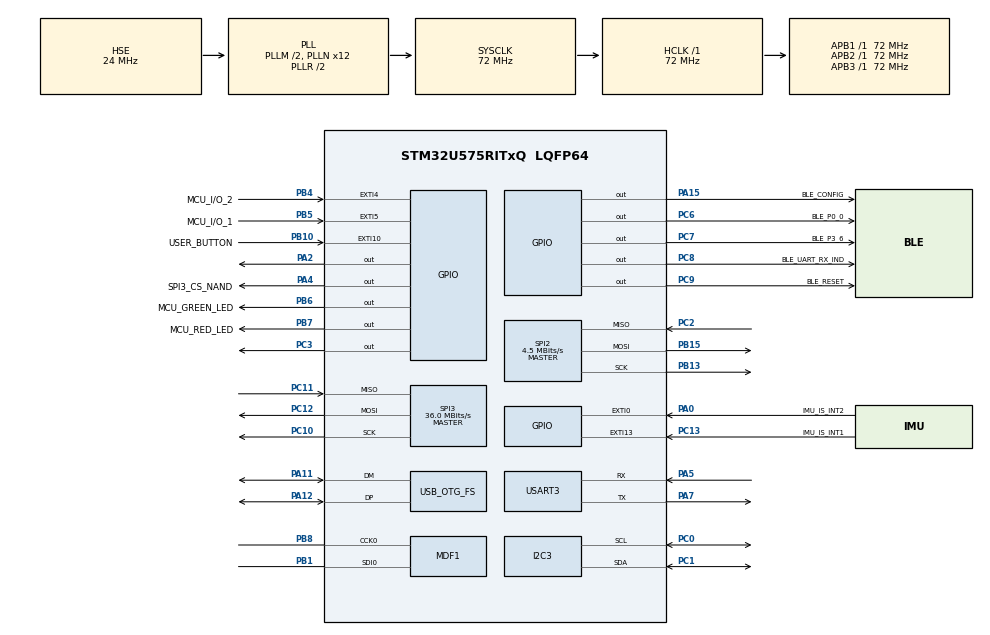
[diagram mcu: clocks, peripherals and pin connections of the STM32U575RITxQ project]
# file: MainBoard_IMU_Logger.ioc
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CORTEX_M33_NS.userName=CORTEX_M33
I2C3.Timing=0x10808DD3
MDF1.MDF_COMPARAM_ActivationClockTrigger=ENABLE
MDF1.MDF_COMPARAM_ActivationOutputClock=ENABLE
MDF1.MDF_COMPARAM_Divider=5
MDF1.MDF_COMPARAM_Pins=MDF_OUTPUT_CLOCK_ALL
MDF1.MDF_DFLT0_AcquisitionMode=MDF_MODE_SYNC_CONT
MDF1.MDF_DFLT0_CIC_Mode=MDF_ONE_FILTER_SINC5
MDF1.MDF_DFLT0_Decimation=16
MDF1.MDF_DFLT0_DiscardSamples=255
MDF1.MDF_DFLT0_Gain=1
MDF1.MDF_DFLT0_HighPassFilterActivation=ENABLE
MDF1.MDF_DFLT0_ReshapeFilterActivation=ENABLE
MDF1.MDF_SITF0_Mode_Display=MDF_SITF_NORMAL_SPI_MODE
MDF1.MDF_SITF0_Threshold=31
Mcu.Family=STM32U5
Mcu.Name=STM32U575RITxQ
Mcu.Package=LQFP64
NVIC.EXTI0_IRQn=true\:0\:0\:false\:false\:true\:true\:true\:true
NVIC.EXTI10_IRQn=true\:0\:0\:false\:false\:true\:true\:true\:true
NVIC.EXTI13_IRQn=true\:0\:0\:false\:false\:true\:true\:true\:true
NVIC.EXTI4_IRQn=true\:0\:0\:false\:false\:true\:true\:true\:true
NVIC.EXTI5_IRQn=true\:0\:0\:false\:false\:true\:true\:true\:true
NVIC.MDF1_FLT0_IRQn=true\:0\:0\:false\:false\:true\:true\:true\:true
NVIC.OTG_FS_IRQn=true\:0\:0\:false\:false\:true\:true\:true\:true
NVIC.PriorityGroup=NVIC_PRIORITYGROUP_4
NVIC.SPI2_IRQn=true\:0\:0\:false\:false\:true\:true\:true\:true
NVIC.SPI3_IRQn=true\:0\:0\:false\:false\:true\:true\:true\:true
NVIC.TIM2_IRQn=true\:2\:0\:true\:false\:true\:true\:true\:true
NVIC.USART3_IRQn=true\:0\:0\:false\:false\:true\:true\:true\:true
PA0.GPIO_Label=IMU_IS_INT2
PA0.Signal=GPXTI0
PA11.GPIO_Speed=GPIO_SPEED_FREQ_VERY_HIGH
PA11.Mode=Device_Only
PA11.Signal=USB_OTG_FS_DM
PA12.GPIO_Speed=GPIO_SPEED_FREQ_VERY_HIGH
PA12.Mode=Device_Only
PA12.Signal=USB_OTG_FS_DP
PA13\ (JTMS/SWDIO).Mode=Trace_Asynchronous_SW
PA13\ (JTMS/SWDIO).Signal=DEBUG_JTMS-SWDIO
PA14\ (JTCK/SWCLK).Mode=Trace_Asynchronous_SW
PA14\ (JTCK/SWCLK).Signal=DEBUG_JTCK-SWCLK
PA15\ (JTDI).GPIO_Label=BLE_CONFIG
PA15\ (JTDI).PinState=GPIO_PIN_SET
PA15\ (JTDI).Signal=GPIO_Output
PA2.Signal=GPIO_Output
PA4.GPIO_Label=SPI3_CS_NAND
PA4.Signal=GPIO_Output
PA5.Mode=Asynchronous
PA5.Signal=USART3_RX
PA7.Mode=Asynchronous
PA7.Signal=USART3_TX
PA9.Signal=USB_OTG_FS_VBUS
PB1.GPIO_Speed=GPIO_SPEED_FREQ_VERY_HIGH
PB1.Mode=MOD_MDF_SITF0_CCK0
PB1.Signal=MDF1_SDI0
PB10.GPIO_Label=USER_BUTTON
PB10.GPIO_ModeDefaultEXTI=GPIO_MODE_IT_RISING
PB10.GPIO_PuPd=GPIO_PULLDOWN
PB10.Signal=GPXTI10
PB13.Mode=Full_Duplex_Master
PB13.Signal=SPI2_SCK
PB15.Mode=Full_Duplex_Master
PB15.Signal=SPI2_MOSI
PB3\ (JTDO/TRACESWO).Mode=Trace_Asynchronous_SW
PB3\ (JTDO/TRACESWO).Signal=DEBUG_JTDO-SWO
PB4\ (NJTRST).GPIO_Label=MCU_I/O_2
PB4\ (NJTRST).Signal=GPXTI4
PB5.GPIO_Label=MCU_I/O_1
PB5.Signal=GPXTI5
PB6.GPIO_Label=MCU_GREEN_LED
PB6.Signal=GPIO_Output
PB7.GPIO_Label=MCU_RED_LED
PB7.Signal=GPIO_Output
PB8.GPIO_FM8=SYSCFG_FASTMODEPLUS_PB8
PB8.GPIO_Speed=GPIO_SPEED_FREQ_VERY_HIGH
PB8.Mode=MOD_MDF_CCK0
PB8.Signal=MDF1_CCK0
PC0.Mode=I2C
PC0.Signal=I2C3_SCL
PC1.Mode=I2C
PC1.Signal=I2C3_SDA
PC10.Mode=Full_Duplex_Master
PC10.Signal=SPI3_SCK
PC11.Mode=Full_Duplex_Master
PC11.Signal=SPI3_MISO
PC12.Mode=Full_Duplex_Master
PC12.Signal=SPI3_MOSI
PC13.GPIO_Label=IMU_IS_INT1
PC13.Signal=GPXTI13
PC14-OSC32_IN\ (PC14).Mode=LSE-External-Oscillator
PC14-OSC32_IN\ (PC14).Signal=RCC_OSC32_IN
PC15-OSC32_OUT\ (PC15).Mode=LSE-External-Oscillator
PC15-OSC32_OUT\ (PC15).Signal=RCC_OSC32_OUT
PC2.Mode=Full_Duplex_Master
PC2.Signal=SPI2_MISO
PC3.Signal=GPIO_Output
PC6.GPIO_Label=BLE_P0_0
PC6.Signal=GPIO_Output
PC7.GPIO_Label=BLE_P3_6
PC7.Signal=GPIO_Output
PC8.GPIO_Label=BLE_UART_RX_IND
PC8.Signal=GPIO_Output
PC9.GPIO_Label=BLE_RESET
PC9.Signal=GPIO_Output
PH0-OSC_IN\ (PH0).Mode=HSE-External-Oscillator
PH0-OSC_IN\ (PH0).Signal=RCC_OSC_IN
PH1-OSC_OUT\ (PH1).Mode=HSE-External-Oscillator
PH1-OSC_OUT\ (PH1).Signal=RCC_OSC_OUT
ProjectManager.HeapSize=0x400
ProjectManager.StackSize=0x800
ProjectManager.TargetToolchain=CMake
RCC.ADCFreq_Value=16000000
RCC.AHBFreq_Value=72000000
RCC.APB1Freq_Value=72000000
RCC.APB1TimFreq_Value=72000000
RCC.APB2Freq_Value=72000000
RCC.APB2TimFreq_Value=72000000
RCC.APB3Freq_Value=72000000
RCC.CK48CLockSelection=RCC_CLK48CLKSOURCE_PLL1
RCC.CortexFreq_Value=72000000
RCC.EPOD_VALUE=24000000
RCC.HCLKFreq_Value=72000000
RCC.HSE_VALUE=24000000
RCC.HSI48_VALUE=48000000
RCC.HSI_VALUE=16000000
RCC.LSIDIV_VALUE=32000
RCC.MSIClockRange=RCC_MSIRANGE_0
RCC.MSI_VALUE=48000000
RCC.MdfClockSelection=RCC_MDF1CLKSOURCE_PLL3
RCC.PLL1Q=3
RCC.PLL2FRACN=0
RCC.PLL3FRACN=0
RCC.PLL3M=3
RCC.PLL3N=48
RCC.PLL3Q=25
RCC.PLL3Source=RCC_PLLSOURCE_HSE
RCC.PLLFRACN=0
RCC.PLLM=2
RCC.PLLN=12
RCC.PLLSourceVirtual=RCC_PLLSOURCE_HSE
RCC.SYSCLKFreq_VALUE=72000000
RCC.SYSCLKSource=RCC_SYSCLKSOURCE_PLLCLK
RCC.USBFreq_Value=48000000
RCC.VCOOutputFreq_Value=144000000
SPI2.BaudRatePrescaler=SPI_BAUDRATEPRESCALER_16
SPI2.CalculateBaudRate=4.5 MBits/s
SPI2.DataSize=SPI_DATASIZE_8BIT
SPI2.Direction=SPI_DIRECTION_2LINES
SPI2.Mode=SPI_MODE_MASTER
SPI2.VirtualType=VM_MASTER
SPI3.CalculateBaudRate=36.0 MBits/s
SPI3.Direction=SPI_DIRECTION_2LINES
SPI3.Mode=SPI_MODE_MASTER
SPI3.VirtualType=VM_MASTER
TIM2.PeriodNoDither=100-1
TIM2.Prescaler=7200-1
USART3.VirtualMode-Asynchronous=VM_ASYNC
USB_OTG_FS.VirtualMode=Device_Only
VP_ICACHE_VS_ENABLE_ICACHE_MEMORY.Mode=Memoryregions
VP_LPBAMQUEUE_VS_QUEUE.Mode=QUEUEMODE
VP_LPBAM_VS_SIG1.Mode=SmartRun
VP_LPBAM_VS_SIG4.Mode=LPDMA1
VP_MDF1_VS_MDF_DFLT0.Mode=MOD_MDF_DFLT0
VP_MEMORYMAP_VS_MEMORYMAP.Mode=CurAppReg
VP_PWR_VS_SECSignals.Mode=Security/Privilege
VP_TIM2_VS_ClockSourceINT.Mode=Internal
board=custom

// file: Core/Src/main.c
/* USER CODE BEGIN Header */
/**
  ******************************************************************************
  * @file           : main.c
  * @brief          : Main application — Alternating Phased Acquisition Architecture
  ******************************************************************************
  * @details
  *
  * This firmware implements a strict 2.5-second alternating duty cycle
  * designed for ultra-low power consumption and accurate telemetry gathering.
  *
  * State Machine (`STATE_ACQUISITION`)
  * ---------------------------------------------------------------------------
  * The main loop toggles between two primary hardware states:
  *
  * PHASE 1: Environment Phase (0ms - 500ms)
  *   • IMU is powered down (ODR = 0).
  *   • Light Sensor (AS7341) is driven asynchronously and continuously
  *     accumulates readings.
  *   • Microphone (MDF) continuously loops 64ms DMA transfers to compute LAeq.
  *   • At exactly 500ms: Environment metrics are finalized (averaged),
  *     and sensors are sent back to sleep.
  *
  * PHASE 2: IMU Phase (500ms - 2500ms)
  *   • Light & Mic DMA pipelines are halted entirely.
  *   • IMU wakes up (ODR = 52Hz) and accumulates raw steps natively via
  *     the hardware EXTI line.
  *   • The step-counter processes all buffered data concurrently.
  *   • At 2500ms: The cycle resets back to PHASE 1.
  *
  * BLE Packet Dispatch
  * ---------------------------------------------------------------------------
  * A 20-byte unified BLE payload is dispatched exactly every 500ms:
  *   - 1x at the end of PHASE 1.
  *   - 4x distributed perfectly across PHASE 2.
  * The payload safely stitches together the freshly advancing Step Count
  * and the statically stashed Environment readings until the next Env phase.
  *
  * Recent Modifications
  * ---------------------------------------------------------------------------
  * - IMU Step Counter inputs updated: Port 1 (gravity) receives 'g',
  *   Port 2 (dynamic force) receives 'm/s^2' (scaled by 9.81f).
  *
  ******************************************************************************
  */
/* USER CODE END Header */
#include "main.h"
#include "main.h"
#include "audio_ring_buffer.h"

/* USER CODE BEGIN Includes */
#include <string.h>
#include <stdio.h>
#include "../../USB_Device/App/usb_device.h"
#include "SPI.h"
#include "SPI_NAND.h"
#include "Memory_operations.h"
#include "led_driver.h"
#include "imu_driver.h"
#include "imu_ring_buffer.h"
#include "StepCounter.h"
#include "bluetooth.h"
#include "as7341_driver.h"
#include "as7341_processing_config.h"
#include "light_metrics_mcu.h"
#include "mic_metrics.h"
/* USER CODE END Includes */

/* USER CODE BEGIN PD */
/** Light sensor sampled every LIGHT_SUBSAMPLE IMU ticks (100 Hz / 10 = 10 Hz) */
#define LIGHT_SUBSAMPLE           10U

#define AUDIO_HARDWARE_WARMUP_SAMPLES 255U
#define AUDIO_SOFTWARE_WARMUP_SAMPLES \
    (AUDIO_WARMUP_SAMPLES - AUDIO_HARDWARE_WARMUP_SAMPLES)
/* USER CODE END PD */

I2C_HandleTypeDef hi2c3;

MDF_HandleTypeDef MdfHandle0;
MDF_FilterConfigTypeDef MdfFilterConfig0;

SPI_HandleTypeDef hspi2;
SPI_HandleTypeDef hspi3;

TIM_HandleTypeDef htim2;

UART_HandleTypeDef huart3;

PCD_HandleTypeDef hpcd_USB_OTG_FS;

/* USER CODE BEGIN PV */

/* --- State machine -------------------------------------------------------- */
AppState current_state = STATE_ACQUISITION;

/* --- Global flags --------------------------------------------------------- */
uint8_t usb_flag = 0;

/* --- IMU working buffers (written only in main loop) --------------------- */
static IMU_Data accelerometer_data;
static IMU_Data gyroscope_data;
uint8_t raw_accelerometer[6] = {0};
uint8_t raw_gyroscope[6]     = {0};

/*
 * g_light_tick      — incremented in the ISR (volatile, 8-bit wraps freely).
 * g_light_tick_last — last value consumed by main loop (non-volatile copy).
 */
static volatile uint8_t g_light_tick      = 0U;

// --- Microphone Variables ---
#define AUDIO_DMA_BUFFER_SAMPLES (2 * AUDIO_CHUNK_SAMPLES)
int16_t audio_dma_buffer[AUDIO_DMA_BUFFER_SAMPLES];
AudioRingBuffer g_audio_ring_buffer;
uint8_t microphone_active = 0;
MDF_DmaConfigTypeDef mic_dma_config;

volatile uint16_t g_last_laeq_x10 = 0;
volatile uint8_t  g_last_audio_env = 0;

static uint8_t    g_last_light_class = 0;
static uint16_t   g_last_blue_clear_ratio = 0;
static uint16_t   g_last_color_temp = 0;

typedef enum {
    PHASE_ENV = 0,
    PHASE_IMU = 1
} AcqPhase;

/* --- NAND Flash ----------------------------------------------------------- */
uint8_t  NAND_packet[4096] = {0};
uint16_t sample            = 0;
uint16_t blocco_scritto    = 0;
uint8_t  pagina_scritta    = 0;
uint16_t b                 = 0;
read_address_t   blocco;
column_address_t colonna   = 0;
uint16_t bad_blocks[2048]  = {-1};
uint8_t  bad_blocks2[2048] = {0};
uint8_t  data_letto[4096]  = {0};
int      exit_flag         = 0;

/* --- Timestamp ------------------------------------------------------------ */
Time_Struct timestamp;
uint16_t    tim = 0;

/* USER CODE END PV */

void SystemClock_Config(void);
static void MX_GPIO_Init(void);
static void MX_ICACHE_Init(void);
static void MX_I2C3_Init(void);
static void MX_USART3_UART_Init(void);
static void MX_USB_OTG_FS_PCD_Init(void);
static void MX_MDF1_Init(void);
static void MX_TIM2_Init(void);
static void MX_SPI2_Init(void);
static void MX_SPI3_Init(void);

/* USER CODE BEGIN 0 */
void HAL_TIM_PeriodElapsedCallback(TIM_HandleTypeDef *htim) //-> no longer needed since we're using the timer purely as a tripwire to set a flag, and not for any timing-sensitive operations. The main loop can check the flag and perform the necessary I2C reads and processing without being constrained by the ISR execution time.
{
    if (htim != &htim2) return;
    if (current_state != STATE_ACQUISITION) return;

    g_imu_fetch_flag = 1U;
    g_light_tick++;
}
static void MicrophoneClock_Enable(void) {
    MDF1->CKGCR |= MDF_CKGCR_CKDEN;
    MdfHandle0.Instance->SITFCR |= MDF_SITFCR_SITFEN;
}

static void MicrophoneClock_Disable(void) {
    MDF1->CKGCR &= ~MDF_CKGCR_CKDEN;
}

void HAL_MDF_AcqHalfCpltCallback(MDF_HandleTypeDef *hmdf) {
    if (hmdf->Instance == MDF1_Filter0) {
        AudioRing_EnqueueFromIsr(&g_audio_ring_buffer, &audio_dma_buffer[0], AUDIO_CHUNK_SAMPLES);
    }
}

void HAL_MDF_AcqCpltCallback(MDF_HandleTypeDef *hmdf) {
    if (hmdf->Instance == MDF1_Filter0) {
        AudioRing_EnqueueFromIsr(&g_audio_ring_buffer, &audio_dma_buffer[AUDIO_CHUNK_SAMPLES], AUDIO_CHUNK_SAMPLES);
    }
}
/* USER CODE END 0 */

int main(void)
{

  /* MCU Configuration--------------------------------------------------------*/

  /* Reset of all peripherals, Initializes the Flash interface and the Systick. */
  HAL_Init();

  /* Configure the system clock */
  SystemClock_Config();

  /* Initialize all configured peripherals */
  MX_GPIO_Init();
  MX_ICACHE_Init();
  MX_I2C3_Init();
  MX_USART3_UART_Init();
  MX_USB_OTG_FS_PCD_Init();
  MX_MDF1_Init();
  MX_TIM2_Init();
  MX_SPI2_Init();
  MX_SPI3_Init();
  /* USER CODE BEGIN 2 */

  BLE_Initialize();
  MX_USB_Device_Init();
  HAL_Delay(1000);

  spi_nand_init();
  find_bad_blocks(bad_blocks);

  if (IMU_Init() == 1) {
    IMU_ConfigAccelerometer(ACC_ODR_52HZ, ACC_FS_2G, 1);
    IMU_ConfigGyroscope    (GYR_ODR_52HZ, GYR_FS_250DPS, 1);}
   else {
    for (uint8_t i = 0; i < 6; i++) {
      LED_Toggle(LED_RED); HAL_Delay(500);
    }
  }

  if (AS7341_Init() != 1) {
    for (uint8_t i = 0; i < 3; i++) {
      LED_Toggle(LED_RED); HAL_Delay(150);
      }
  }

  LightMetrics_Init();
  LightMetrics_StartSession(HAL_GetTick());
  StepCounter_initialize();
  IMU_RingBuffer_Init(&g_imu_ring_buffer);

  /*
   * Set NVIC priorities BEFORE starting the timer.
   * BLE (USART3) and USB (OTG_FS) at priority 5 so they preempt TIM2
   * and the main loop's blocking I2C calls (thread priority ~15).
   */
  HAL_NVIC_SetPriority(USART3_IRQn,  5, 0);
  HAL_NVIC_SetPriority(OTG_FS_IRQn,  5, 0);
  HAL_NVIC_SetPriority(TIM2_IRQn,    6, 0);

  HAL_TIM_Base_Start_IT (&htim2);

  LED_Off(LED_RED);
  /* USER CODE END 2 */

  /* Infinite loop */
  while (1)
  {

    /* USER CODE BEGIN 3 */
    static uint32_t last_blink = 0;
    if (HAL_GetTick() - last_blink > 500) {
        last_blink = HAL_GetTick();
    }

    switch (current_state)
    {
      /* ------------------------------------------------------------------ */
      case STATE_IDLE:
        if (usb_flag) {
          current_state = STATE_USB_CONNECTED;
          LED_On(LED_GREEN);
        }
        break;

      /* ------------------------------------------------------------------ */
      case STATE_ACQUISITION:
      {
        uint32_t current_tick = HAL_GetTick();

        static AcqPhase current_phase = PHASE_ENV;
        static uint32_t phase_start_ms = 0;
        static uint8_t  phase_just_entered = 1;
        static uint8_t  light_was_pending = 0;

        if (phase_start_ms == 0) {
             phase_start_ms = current_tick;
        }

        if (current_phase == PHASE_ENV)
        {
            static uint32_t laeq_sum = 0;
            static uint16_t laeq_count = 0;

            if (phase_just_entered)
            {
                phase_just_entered = 0;
                laeq_sum = 0;
                laeq_count = 0;

                // 1. Turn IMU OFF
                IMU_ConfigAccelerometer(ACC_ODR_POWER_DOWN, ACC_FS_2G, 1);
                IMU_ConfigGyroscope(GYR_ODR_POWER_DOWN, GYR_FS_250DPS, 1);

                // 2. Start Light Sensor (Async)
                LightMetrics_StartSession(current_tick);
                LightMetrics_RequestSample();
                light_was_pending = 1;

                // 3. Start Mic DMA with Ring Buffer
                AudioRing_Reset(&g_audio_ring_buffer);
                MicrophoneClock_Enable();

                mic_dma_config.Address    = (uint32_t)audio_dma_buffer;
                mic_dma_config.DataLength = AUDIO_DMA_BUFFER_SAMPLES * sizeof(int16_t);
                mic_dma_config.MsbOnly    = ENABLE;

                HAL_MDF_AcqStart_DMA(&MdfHandle0, &MdfFilterConfig0, &mic_dma_config);
                microphone_active = 1;
            }

            // --- Continuously Drive Light Sensor ---
            LightMetrics_ProcessPendingSample();
            if (light_was_pending && LightMetrics_HasPendingSample() == 0)
            {
                // Request the next sample immediately to keep accumulating
                LightMetrics_RequestSample();
                light_was_pending = 1;
            }

            // --- Drain Audio Ring Buffer ---
            while (AudioRing_Count(&g_audio_ring_buffer) >= AUDIO_CHUNK_SAMPLES)
            {
                static int16_t chunk[AUDIO_CHUNK_SAMPLES];
                uint32_t popped = AudioRing_PopChunk(&g_audio_ring_buffer, chunk, AUDIO_CHUNK_SAMPLES);

                if (popped > 0) {
                    uint16_t calc_laeq;
                    uint8_t calc_env;
                    MicMetrics_ProcessFrame(chunk, popped, &calc_laeq, &calc_env);

                    laeq_sum += calc_laeq;
                    laeq_count++;
                    g_last_audio_env = calc_env;
                }
            }

            // --- Check for Phase Transition (500ms) ---
            if (current_tick - phase_start_ms >= 500)
            {
                LightSensorResultRecord light_res;
                LightMetrics_FinalizeSession(&light_res);

                g_last_blue_clear_ratio = light_res.blue_clear_ratio;
                g_last_color_temp       = light_res.color_temp;
                g_last_light_class      = light_res.light_level_class;

                // Stop Mic Recording safely
                if (microphone_active) {
                    HAL_MDF_AcqStop_DMA(&MdfHandle0);
                    MicrophoneClock_Disable();
                    microphone_active = 0;
                }

                // Compute Audio Average
                if (laeq_count > 0) {
                    g_last_laeq_x10 = (uint16_t)(laeq_sum / laeq_count);
                }

                // --- Dispatch 500ms BLE Packet ---
                BLE_UnifiedPayload ble_payload;
                ble_payload.stepCount          = StepCounter_Y.stepnumber;
                ble_payload.light_level_class  = g_last_light_class;
                ble_payload.blue_clear_ratio   = g_last_blue_clear_ratio;
                ble_payload.color_temp         = g_last_color_temp;
                ble_payload.laeq_x10           = g_last_laeq_x10;
                ble_payload.audio_env_class    = g_last_audio_env;

                BLE_SendUnifiedPacket(&ble_payload);

                current_phase = PHASE_IMU;
                phase_start_ms = current_tick;
                phase_just_entered = 1;
            }
        }
        else if (current_phase == PHASE_IMU)
        {
            static uint32_t imu_ble_timer = 0;
            if (phase_just_entered)
            {
                phase_just_entered = 0;
                imu_ble_timer = phase_start_ms;

                // Turn IMU ON (104 Hz matches Simulink's 0.01s / 100Hz expectation)
                IMU_ConfigAccelerometer(ACC_ODR_104HZ, ACC_FS_2G, 1);
                IMU_ConfigGyroscope(GYR_ODR_104HZ, GYR_FS_250DPS, 1);
            }

            // --- Process IMU Data (Interrupts will fire and push to Ring Buffer) ---
            uint8_t do_fetch = g_imu_fetch_flag;
            g_imu_fetch_flag = 0U;

            if (do_fetch)
            {
                IMU_ReadAccelerometerRaw(raw_accelerometer);
                IMU_ReadGyroscopeRaw(raw_gyroscope);

                IMU_RawData_t raw_sample;
                memcpy(raw_sample.acc,  raw_accelerometer, 6);
                memcpy(raw_sample.gyro, raw_gyroscope,     6);
                IMU_RingBuffer_Push(&g_imu_ring_buffer, &raw_sample);
            }

            IMU_RawData_t popped;
            while (IMU_RingBuffer_Pop(&g_imu_ring_buffer, &popped))
            {
                IMU_ConvertAccelRawToFloat(&accelerometer_data, popped.acc);
                IMU_ConvertGyroRawToFloat(&gyroscope_data,     popped.gyro);

                StepCounter_U.In1[0] = gyroscope_data.x;
                StepCounter_U.In1[1] = gyroscope_data.y;
                StepCounter_U.In1[2] = gyroscope_data.z;
                StepCounter_U.In2[0] = accelerometer_data.x;
                StepCounter_U.In2[1] = accelerometer_data.y;
                StepCounter_U.In2[2] = accelerometer_data.z;
                StepCounter_step();
            }

            // --- 500ms BLE Dispatch during IMU Phase ---
            if (current_tick - imu_ble_timer >= 500)
            {
                imu_ble_timer = current_tick;

                BLE_UnifiedPayload ble_payload;
                ble_payload.stepCount          = StepCounter_Y.stepnumber;
                ble_payload.light_level_class  = g_last_light_class;
                ble_payload.blue_clear_ratio   = g_last_blue_clear_ratio;
                ble_payload.color_temp         = g_last_color_temp;
                ble_payload.laeq_x10           = g_last_laeq_x10;
                ble_payload.audio_env_class    = g_last_audio_env;

                BLE_SendUnifiedPacket(&ble_payload);
            }

            // --- Check for Phase Transition (2000ms) ---
            if (current_tick - phase_start_ms >= 2000)
            {
                current_phase = PHASE_ENV;
                phase_start_ms = current_tick;
                phase_just_entered = 1;
            }
        }

        break;
      }

      /* ------------------------------------------------------------------ */
      case STATE_USB_CONNECTED:
        break;

      /* ------------------------------------------------------------------ */
      case STATE_DOWNLOAD:
        read_memory_and_transmit();
        current_state = STATE_USB_CONNECTED;
        break;

    } /* end switch */

    /* Enter SLEEP mode to save power. Wake up on next interrupt (e.g. SysTick, DMA, I2C) */
    __WFI();

  } /* end while(1) */
  /* USER CODE END 3 */
}

void SystemClock_Config(void)
{
  RCC_OscInitTypeDef RCC_OscInitStruct = {0};
  RCC_ClkInitTypeDef RCC_ClkInitStruct = {0};

  /** Configure the main internal regulator output voltage
  */
  if (HAL_PWREx_ControlVoltageScaling(PWR_REGULATOR_VOLTAGE_SCALE2) != HAL_OK)
  {
    Error_Handler();
  }

  /** Initializes the CPU, AHB and APB buses clocks
  */
  RCC_OscInitStruct.OscillatorType = RCC_OSCILLATORTYPE_HSE;
  RCC_OscInitStruct.HSEState = RCC_HSE_ON;
  RCC_OscInitStruct.PLL.PLLState = RCC_PLL_ON;
  RCC_OscInitStruct.PLL.PLLSource = RCC_PLLSOURCE_HSE;
  RCC_OscInitStruct.PLL.PLLMBOOST = RCC_PLLMBOOST_DIV2;
  RCC_OscInitStruct.PLL.PLLM = 2;
  RCC_OscInitStruct.PLL.PLLN = 12;
  RCC_OscInitStruct.PLL.PLLP = 2;
  RCC_OscInitStruct.PLL.PLLQ = 3;
  RCC_OscInitStruct.PLL.PLLR = 2;
  RCC_OscInitStruct.PLL.PLLRGE = RCC_PLLVCIRANGE_1;
  RCC_OscInitStruct.PLL.PLLFRACN = 0;
  if (HAL_RCC_OscConfig(&RCC_OscInitStruct) != HAL_OK)
  {
    Error_Handler();
  }

  /** Initializes the CPU, AHB and APB buses clocks
  */
  RCC_ClkInitStruct.ClockType = RCC_CLOCKTYPE_HCLK|RCC_CLOCKTYPE_SYSCLK
                              |RCC_CLOCKTYPE_PCLK1|RCC_CLOCKTYPE_PCLK2
                              |RCC_CLOCKTYPE_PCLK3;
  RCC_ClkInitStruct.SYSCLKSource = RCC_SYSCLKSOURCE_PLLCLK;
  RCC_ClkInitStruct.AHBCLKDivider = RCC_SYSCLK_DIV1;
  RCC_ClkInitStruct.APB1CLKDivider = RCC_HCLK_DIV1;
  RCC_ClkInitStruct.APB2CLKDivider = RCC_HCLK_DIV1;
  RCC_ClkInitStruct.APB3CLKDivider = RCC_HCLK_DIV1;

  if (HAL_RCC_ClockConfig(&RCC_ClkInitStruct, FLASH_LATENCY_2) != HAL_OK)
  {
    Error_Handler();
  }
}

static void MX_I2C3_Init(void)
{

  hi2c3.Instance = I2C3;
  hi2c3.Init.Timing = 0x10808DD3;
  hi2c3.Init.OwnAddress1 = 0;
  hi2c3.Init.AddressingMode = I2C_ADDRESSINGMODE_7BIT;
  hi2c3.Init.DualAddressMode = I2C_DUALADDRESS_DISABLE;
  hi2c3.Init.OwnAddress2 = 0;
  hi2c3.Init.OwnAddress2Masks = I2C_OA2_NOMASK;
  hi2c3.Init.GeneralCallMode = I2C_GENERALCALL_DISABLE;
  hi2c3.Init.NoStretchMode = I2C_NOSTRETCH_DISABLE;
  if (HAL_I2C_Init(&hi2c3) != HAL_OK)
  {
    Error_Handler();
  }

  /** Configure Analogue filter
  */
  if (HAL_I2CEx_ConfigAnalogFilter(&hi2c3, I2C_ANALOGFILTER_ENABLE) != HAL_OK)
  {
    Error_Handler();
  }

  /** Configure Digital filter
  */
  if (HAL_I2CEx_ConfigDigitalFilter(&hi2c3, 0) != HAL_OK)
  {
    Error_Handler();
  }

}

static void MX_ICACHE_Init(void)
{

}

static void MX_MDF1_Init(void)
{

  /**
    MdfHandle0 structure initialization and HAL_MDF_Init function call
  */
  MdfHandle0.Instance = MDF1_Filter0;
  MdfHandle0.Init.CommonParam.InterleavedFilters = 0;
  MdfHandle0.Init.CommonParam.ProcClockDivider = 1;
  MdfHandle0.Init.CommonParam.OutputClock.Activation = ENABLE;
  MdfHandle0.Init.CommonParam.OutputClock.Pins = MDF_OUTPUT_CLOCK_ALL;
  MdfHandle0.Init.CommonParam.OutputClock.Divider = 5;
  MdfHandle0.Init.CommonParam.OutputClock.Trigger.Activation = DISABLE;
  MdfHandle0.Init.CommonParam.OutputClock.Trigger.Source = MDF_CLOCK_TRIG_TRGO;
  MdfHandle0.Init.CommonParam.OutputClock.Trigger.Edge = MDF_CLOCK_TRIG_FALLING_EDGE;
  MdfHandle0.Init.SerialInterface.Activation = ENABLE;
  MdfHandle0.Init.SerialInterface.Mode = MDF_SITF_NORMAL_SPI_MODE;
  MdfHandle0.Init.SerialInterface.ClockSource = MDF_SITF_CCK0_SOURCE;
  MdfHandle0.Init.SerialInterface.Threshold = 31;
  MdfHandle0.Init.FilterBistream = MDF_BITSTREAM0_RISING;
  if (HAL_MDF_Init(&MdfHandle0) != HAL_OK)
  {
    Error_Handler();
  }

  /**
    MdfFilterConfig0, MdfOldConfig0 and/or MdfScdConfig0 structures initialization

    WARNING : only structures are filled, no specific init function call for filter
  */
  MdfFilterConfig0.DataSource = MDF_DATA_SOURCE_BSMX;
  MdfFilterConfig0.Delay = 0;
  MdfFilterConfig0.CicMode = MDF_ONE_FILTER_SINC5;
  MdfFilterConfig0.DecimationRatio = 16;
  MdfFilterConfig0.Offset = 0;
  MdfFilterConfig0.Gain = 1;
  MdfFilterConfig0.ReshapeFilter.Activation = ENABLE;
  MdfFilterConfig0.ReshapeFilter.DecimationRatio = MDF_RSF_DECIMATION_RATIO_4;
  MdfFilterConfig0.HighPassFilter.Activation = ENABLE;
  MdfFilterConfig0.HighPassFilter.CutOffFrequency = MDF_HPF_CUTOFF_0_000625FPCM;
  MdfFilterConfig0.Integrator.Activation = DISABLE;
  MdfFilterConfig0.SoundActivity.Activation = DISABLE;
  MdfFilterConfig0.AcquisitionMode = MDF_MODE_ASYNC_CONT;
  MdfFilterConfig0.FifoThreshold = MDF_FIFO_THRESHOLD_NOT_EMPTY;
  MdfFilterConfig0.DiscardSamples = AUDIO_HARDWARE_WARMUP_SAMPLES;
  MdfFilterConfig0.Trigger.Source = MDF_CLOCK_TRIG_TRGO;
  MdfFilterConfig0.Trigger.Edge = MDF_FILTER_TRIG_RISING_EDGE;

}

static void MX_SPI2_Init(void)
{

  SPI_AutonomousModeConfTypeDef HAL_SPI_AutonomousMode_Cfg_Struct = {0};

  /* SPI2 parameter configuration*/
  hspi2.Instance = SPI2;
  hspi2.Init.Mode = SPI_MODE_MASTER;
  hspi2.Init.Direction = SPI_DIRECTION_2LINES;
  hspi2.Init.DataSize = SPI_DATASIZE_8BIT;
  hspi2.Init.CLKPolarity = SPI_POLARITY_LOW;
  hspi2.Init.CLKPhase = SPI_PHASE_1EDGE;
  hspi2.Init.NSS = SPI_NSS_SOFT;
  hspi2.Init.BaudRatePrescaler = SPI_BAUDRATEPRESCALER_16;
  hspi2.Init.FirstBit = SPI_FIRSTBIT_MSB;
  hspi2.Init.TIMode = SPI_TIMODE_DISABLE;
  hspi2.Init.CRCCalculation = SPI_CRCCALCULATION_DISABLE;
  hspi2.Init.CRCPolynomial = 0x7;
  hspi2.Init.NSSPMode = SPI_NSS_PULSE_ENABLE;
  hspi2.Init.NSSPolarity = SPI_NSS_POLARITY_LOW;
  hspi2.Init.FifoThreshold = SPI_FIFO_THRESHOLD_01DATA;
  hspi2.Init.MasterSSIdleness = SPI_MASTER_SS_IDLENESS_00CYCLE;
  hspi2.Init.MasterInterDataIdleness = SPI_MASTER_INTERDATA_IDLENESS_00CYCLE;
  hspi2.Init.MasterReceiverAutoSusp = SPI_MASTER_RX_AUTOSUSP_DISABLE;
  hspi2.Init.MasterKeepIOState = SPI_MASTER_KEEP_IO_STATE_DISABLE;
  hspi2.Init.IOSwap = SPI_IO_SWAP_DISABLE;
  hspi2.Init.ReadyMasterManagement = SPI_RDY_MASTER_MANAGEMENT_INTERNALLY;
  hspi2.Init.ReadyPolarity = SPI_RDY_POLARITY_HIGH;
  if (HAL_SPI_Init(&hspi2) != HAL_OK)
  {
    Error_Handler();
  }
  HAL_SPI_AutonomousMode_Cfg_Struct.TriggerState = SPI_AUTO_MODE_DISABLE;
  HAL_SPI_AutonomousMode_Cfg_Struct.TriggerSelection = SPI_GRP1_GPDMA_CH0_TCF_TRG;
  HAL_SPI_AutonomousMode_Cfg_Struct.TriggerPolarity = SPI_TRIG_POLARITY_RISING;
  if (HAL_SPIEx_SetConfigAutonomousMode(&hspi2, &HAL_SPI_AutonomousMode_Cfg_Struct) != HAL_OK)
  {
    Error_Handler();
  }

}

static void MX_SPI3_Init(void)
{

  SPI_AutonomousModeConfTypeDef HAL_SPI_AutonomousMode_Cfg_Struct = {0};

  /* SPI3 parameter configuration*/
  hspi3.Instance = SPI3;
  hspi3.Init.Mode = SPI_MODE_MASTER;
  hspi3.Init.Direction = SPI_DIRECTION_2LINES;
  hspi3.Init.DataSize = SPI_DATASIZE_8BIT;
  hspi3.Init.CLKPolarity = SPI_POLARITY_LOW;
  hspi3.Init.CLKPhase = SPI_PHASE_1EDGE;
  hspi3.Init.NSS = SPI_NSS_SOFT;
  hspi3.Init.BaudRatePrescaler = SPI_BAUDRATEPRESCALER_2;
  hspi3.Init.FirstBit = SPI_FIRSTBIT_MSB;
  hspi3.Init.TIMode = SPI_TIMODE_DISABLE;
  hspi3.Init.CRCCalculation = SPI_CRCCALCULATION_DISABLE;
  hspi3.Init.CRCPolynomial = 0x7;
  hspi3.Init.NSSPMode = SPI_NSS_PULSE_ENABLE;
  hspi3.Init.NSSPolarity = SPI_NSS_POLARITY_LOW;
  hspi3.Init.FifoThreshold = SPI_FIFO_THRESHOLD_01DATA;
  hspi3.Init.MasterSSIdleness = SPI_MASTER_SS_IDLENESS_00CYCLE;
  hspi3.Init.MasterInterDataIdleness = SPI_MASTER_INTERDATA_IDLENESS_00CYCLE;
  hspi3.Init.MasterReceiverAutoSusp = SPI_MASTER_RX_AUTOSUSP_DISABLE;
  hspi3.Init.MasterKeepIOState = SPI_MASTER_KEEP_IO_STATE_DISABLE;
  hspi3.Init.IOSwap = SPI_IO_SWAP_DISABLE;
  hspi3.Init.ReadyMasterManagement = SPI_RDY_MASTER_MANAGEMENT_INTERNALLY;
  hspi3.Init.ReadyPolarity = SPI_RDY_POLARITY_HIGH;
  if (HAL_SPI_Init(&hspi3) != HAL_OK)
  {
    Error_Handler();
  }
  HAL_SPI_AutonomousMode_Cfg_Struct.TriggerState = SPI_AUTO_MODE_DISABLE;
  HAL_SPI_AutonomousMode_Cfg_Struct.TriggerSelection = SPI_GRP2_LPDMA_CH0_TCF_TRG;
  HAL_SPI_AutonomousMode_Cfg_Struct.TriggerPolarity = SPI_TRIG_POLARITY_RISING;
  if (HAL_SPIEx_SetConfigAutonomousMode(&hspi3, &HAL_SPI_AutonomousMode_Cfg_Struct) != HAL_OK)
  {
    Error_Handler();
  }

}

static void MX_TIM2_Init(void)
{

  TIM_ClockConfigTypeDef sClockSourceConfig = {0};
  TIM_MasterConfigTypeDef sMasterConfig = {0};

  htim2.Instance = TIM2;
  htim2.Init.Prescaler = 7200-1;
  htim2.Init.CounterMode = TIM_COUNTERMODE_UP;
  htim2.Init.Period = 99;
  htim2.Init.ClockDivision = TIM_CLOCKDIVISION_DIV1;
  htim2.Init.AutoReloadPreload = TIM_AUTORELOAD_PRELOAD_DISABLE;
  if (HAL_TIM_Base_Init(&htim2) != HAL_OK)
  {
    Error_Handler();
  }
  sClockSourceConfig.ClockSource = TIM_CLOCKSOURCE_INTERNAL;
  if (HAL_TIM_ConfigClockSource(&htim2, &sClockSourceConfig) != HAL_OK)
  {
    Error_Handler();
  }
  sMasterConfig.MasterOutputTrigger = TIM_TRGO_RESET;
  sMasterConfig.MasterSlaveMode = TIM_MASTERSLAVEMODE_DISABLE;
  if (HAL_TIMEx_MasterConfigSynchronization(&htim2, &sMasterConfig) != HAL_OK)
  {
    Error_Handler();
  }

}

static void MX_USART3_UART_Init(void)
{

  huart3.Instance = USART3;
  huart3.Init.BaudRate = 115200;
  huart3.Init.WordLength = UART_WORDLENGTH_8B;
  huart3.Init.StopBits = UART_STOPBITS_1;
  huart3.Init.Parity = UART_PARITY_NONE;
  huart3.Init.Mode = UART_MODE_TX_RX;
  huart3.Init.HwFlowCtl = UART_HWCONTROL_NONE;
  huart3.Init.OverSampling = UART_OVERSAMPLING_16;
  huart3.Init.OneBitSampling = UART_ONE_BIT_SAMPLE_DISABLE;
  huart3.Init.ClockPrescaler = UART_PRESCALER_DIV1;
  huart3.AdvancedInit.AdvFeatureInit = UART_ADVFEATURE_NO_INIT;
  if (HAL_UART_Init(&huart3) != HAL_OK)
  {
    Error_Handler();
  }
  if (HAL_UARTEx_SetTxFifoThreshold(&huart3, UART_TXFIFO_THRESHOLD_1_8) != HAL_OK)
  {
    Error_Handler();
  }
  if (HAL_UARTEx_SetRxFifoThreshold(&huart3, UART_RXFIFO_THRESHOLD_1_8) != HAL_OK)
  {
    Error_Handler();
  }
  if (HAL_UARTEx_DisableFifoMode(&huart3) != HAL_OK)
  {
    Error_Handler();
  }

}

static void MX_USB_OTG_FS_PCD_Init(void)
{

  hpcd_USB_OTG_FS.Instance = USB_OTG_FS;
  hpcd_USB_OTG_FS.Init.dev_endpoints = 6;
  hpcd_USB_OTG_FS.Init.speed = PCD_SPEED_FULL;
  hpcd_USB_OTG_FS.Init.phy_itface = PCD_PHY_EMBEDDED;
  hpcd_USB_OTG_FS.Init.Sof_enable = DISABLE;
  hpcd_USB_OTG_FS.Init.low_power_enable = DISABLE;
  hpcd_USB_OTG_FS.Init.lpm_enable = DISABLE;
  hpcd_USB_OTG_FS.Init.battery_charging_enable = DISABLE;
  hpcd_USB_OTG_FS.Init.use_dedicated_ep1 = DISABLE;
  hpcd_USB_OTG_FS.Init.vbus_sensing_enable = DISABLE;
  hpcd_USB_OTG_FS.Init.dma_enable = DISABLE;
  if (HAL_PCD_Init(&hpcd_USB_OTG_FS) != HAL_OK)
  {
    Error_Handler();
  }

}

static void MX_GPIO_Init(void)
{
  GPIO_InitTypeDef GPIO_InitStruct = {0};

  /* GPIO Ports Clock Enable */
  __HAL_RCC_GPIOC_CLK_ENABLE();
  __HAL_RCC_GPIOH_CLK_ENABLE();
  __HAL_RCC_GPIOA_CLK_ENABLE();
  __HAL_RCC_GPIOB_CLK_ENABLE();

  /*Configure GPIO pin Output Level */
  HAL_GPIO_WritePin(GPIOC, GPIO_PIN_3|BLE_P0_0_Pin|BLE_P3_6_Pin|BLE_UART_RX_IND_Pin
                          |BLE_RESET_Pin, GPIO_PIN_RESET);

  /*Configure GPIO pin Output Level */
  HAL_GPIO_WritePin(GPIOA, GPIO_PIN_2|SPI3_CS_NAND_Pin, GPIO_PIN_RESET);

  /*Configure GPIO pin Output Level */
  HAL_GPIO_WritePin(BLE_CONFIG_GPIO_Port, BLE_CONFIG_Pin, GPIO_PIN_SET);

  /*Configure GPIO pin Output Level */
  HAL_GPIO_WritePin(GPIOB, MCU_GREEN_LED_Pin|MCU_RED_LED_Pin, GPIO_PIN_RESET);

  /*Configure GPIO pin : IMU_IS_INT1_Pin */
  GPIO_InitStruct.Pin = IMU_IS_INT1_Pin;
  GPIO_InitStruct.Mode = GPIO_MODE_IT_RISING;
  GPIO_InitStruct.Pull = GPIO_NOPULL;
  HAL_GPIO_Init(IMU_IS_INT1_GPIO_Port, &GPIO_InitStruct);

  /*Configure GPIO pins : PC3 BLE_P0_0_Pin BLE_P3_6_Pin BLE_UART_RX_IND_Pin
                           BLE_RESET_Pin */
  GPIO_InitStruct.Pin = GPIO_PIN_3|BLE_P0_0_Pin|BLE_P3_6_Pin|BLE_UART_RX_IND_Pin
                          |BLE_RESET_Pin;
  GPIO_InitStruct.Mode = GPIO_MODE_OUTPUT_PP;
  GPIO_InitStruct.Pull = GPIO_NOPULL;
  GPIO_InitStruct.Speed = GPIO_SPEED_FREQ_LOW;
  HAL_GPIO_Init(GPIOC, &GPIO_InitStruct);

  /*Configure GPIO pin : IMU_IS_INT2_Pin */
  GPIO_InitStruct.Pin = IMU_IS_INT2_Pin;
  GPIO_InitStruct.Mode = GPIO_MODE_IT_RISING;
  GPIO_InitStruct.Pull = GPIO_NOPULL;
  HAL_GPIO_Init(IMU_IS_INT2_GPIO_Port, &GPIO_InitStruct);

  /*Configure GPIO pins : PA2 SPI3_CS_NAND_Pin BLE_CONFIG_Pin */
  GPIO_InitStruct.Pin = GPIO_PIN_2|SPI3_CS_NAND_Pin|BLE_CONFIG_Pin;
  GPIO_InitStruct.Mode = GPIO_MODE_OUTPUT_PP;
  GPIO_InitStruct.Pull = GPIO_NOPULL;
  GPIO_InitStruct.Speed = GPIO_SPEED_FREQ_LOW;
  HAL_GPIO_Init(GPIOA, &GPIO_InitStruct);

  /*Configure GPIO pin : USER_BUTTON_Pin */
  GPIO_InitStruct.Pin = USER_BUTTON_Pin;
  GPIO_InitStruct.Mode = GPIO_MODE_IT_RISING;
  GPIO_InitStruct.Pull = GPIO_PULLDOWN;
  HAL_GPIO_Init(USER_BUTTON_GPIO_Port, &GPIO_InitStruct);

  /*Configure GPIO pins : MCU_I_O_2_Pin MCU_I_O_1_Pin */
  GPIO_InitStruct.Pin = MCU_I_O_2_Pin|MCU_I_O_1_Pin;
  GPIO_InitStruct.Mode = GPIO_MODE_IT_RISING;
  GPIO_InitStruct.Pull = GPIO_NOPULL;
  HAL_GPIO_Init(GPIOB, &GPIO_InitStruct);

  /*Configure GPIO pins : MCU_GREEN_LED_Pin MCU_RED_LED_Pin */
  GPIO_InitStruct.Pin = MCU_GREEN_LED_Pin|MCU_RED_LED_Pin;
  GPIO_InitStruct.Mode = GPIO_MODE_OUTPUT_PP;
  GPIO_InitStruct.Pull = GPIO_NOPULL;
  GPIO_InitStruct.Speed = GPIO_SPEED_FREQ_LOW;
  HAL_GPIO_Init(GPIOB, &GPIO_InitStruct);

  /* EXTI interrupt init*/
  HAL_NVIC_SetPriority(EXTI0_IRQn, 0, 0);
  HAL_NVIC_EnableIRQ(EXTI0_IRQn);

  HAL_NVIC_SetPriority(EXTI4_IRQn, 0, 0);
  HAL_NVIC_EnableIRQ(EXTI4_IRQn);

  HAL_NVIC_SetPriority(EXTI5_IRQn, 0, 0);
  HAL_NVIC_EnableIRQ(EXTI5_IRQn);

  HAL_NVIC_SetPriority(EXTI10_IRQn, 0, 0);
  HAL_NVIC_EnableIRQ(EXTI10_IRQn);

  HAL_NVIC_SetPriority(EXTI13_IRQn, 0, 0);
  HAL_NVIC_EnableIRQ(EXTI13_IRQn);

}

void Error_Handler(void)
{
  __disable_irq();
  while (1)
  {
  }
}
